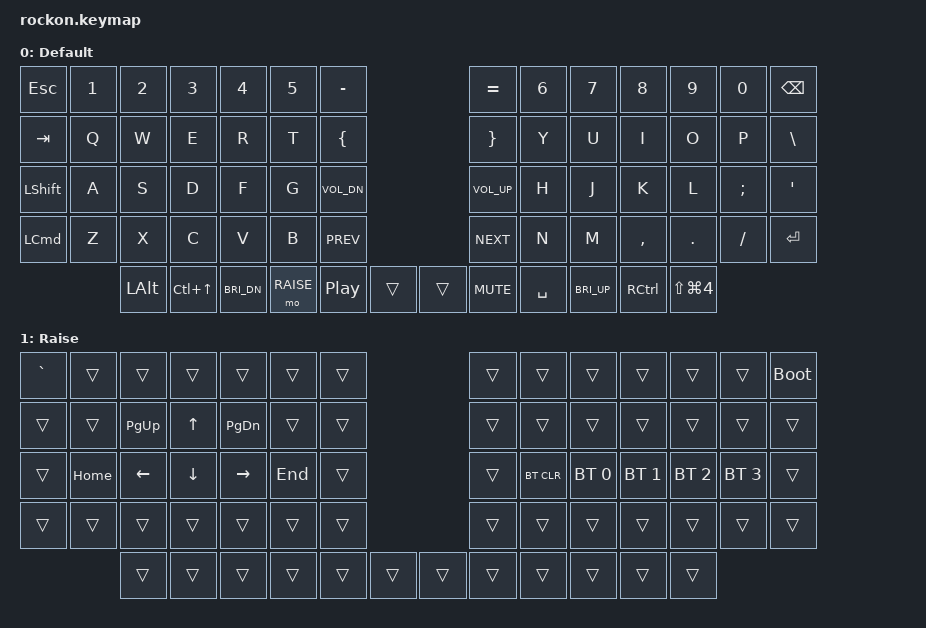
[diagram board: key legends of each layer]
#include <behaviors.dtsi>
#include <dt-bindings/zmk/keys.h>
#include <dt-bindings/zmk/bt.h>
#include <dt-bindings/zmk/outputs.h>

#define DEFAULT 0
#define RAISE   1

&caps_word {
    continue-list = <UNDERSCORE MINUS>;
};

/ {
    combos {
        compatible = "zmk,combos";
        combo_undo {
            timeout-ms = <50>;
            key-positions = <26 27>;
            bindings = <&kp LC(Z)>;
        };
    };
};

/ {
    behaviors {
        hm: homerow_mods {
            compatible = "zmk,behavior-hold-tap";
            label = "HOMEROW_MODS";
            #binding-cells = <2>;
            tapping-term-ms = <200>;
            quick_tap_ms = <0>;
            flavor = "balanced";
            bindings = <&kp>, <&kp>;
        };
        hs: homerow_shift {
            compatible = "zmk,behavior-hold-tap";
            label = "HOMEROW_SHIFT";
            #binding-cells = <2>;
            tapping-term-ms = <175>;
            quick_tap_ms = <0>;
            flavor = "balanced";
            bindings = <&kp>, <&kp>;
        };
    };

    keymap {
        compatible = "zmk,keymap";

        default_layer {
            label = "Default";
            bindings = <
    &kp ESC    &kp N1      &kp N2      &kp N3      &kp N4        &kp N5       &kp MINUS                                           &kp EQUAL       &kp N6         &kp N7        &kp N8        &kp N9      &kp N0      &kp BSPC
    &kp TAB    &kp Q       &kp W       &kp E       &kp R         &kp T        &kp LBRC                                            &kp RBRC        &kp Y          &kp U         &kp I         &kp O       &kp P       &kp BSLH
    &kp LSHIFT &kp A       &kp S       &kp D       &kp F         &kp G        &kp C_VOL_DN                                        &kp C_VOL_UP    &kp H          &kp J         &kp K         &kp L       &kp SEMI    &kp SQT
    &kp LCMD   &kp Z       &kp X       &kp C       &kp V         &kp B        &kp C_PREV                                          &kp C_NEXT      &kp N          &kp M         &kp COMMA     &kp DOT     &kp FSLH    &kp RET
                           &kp LALT    &kp LC(UP)  &kp C_BRI_DN  &mo RAISE    &kp C_PLAY_PAUSE     &trans          &trans         &kp K_MUTE      &kp SPACE      &kp C_BRI_UP  &kp RCTRL     &kp LS(LG(N4))
            >;
        };

        raise_layer {
            label = "Raise";
            
            bindings = <
    &kp GRAVE  &trans       &trans       &trans      &trans        &trans      &trans                                        &trans     &trans        &trans       &trans        &trans       &trans        &bootloader
    &trans     &trans       &kp PG_UP    &kp UP      &kp PG_DN     &trans      &trans                                        &trans     &trans        &trans       &trans        &trans       &trans        &trans
    &trans     &kp HOME     &kp LEFT     &kp DOWN    &kp RIGHT     &kp END     &trans                                        &trans     &bt BT_CLR    &bt BT_SEL 0 &bt BT_SEL 1  &bt BT_SEL 2 &bt BT_SEL 3  &trans
    &trans     &trans       &trans       &trans      &trans        &trans      &trans                                        &trans     &trans        &trans       &trans        &trans       &trans        &trans
                            &trans       &trans      &trans        &trans      &trans         &trans          &trans         &trans     &trans        &trans       &trans        &trans
            >;
        };
    };
};
